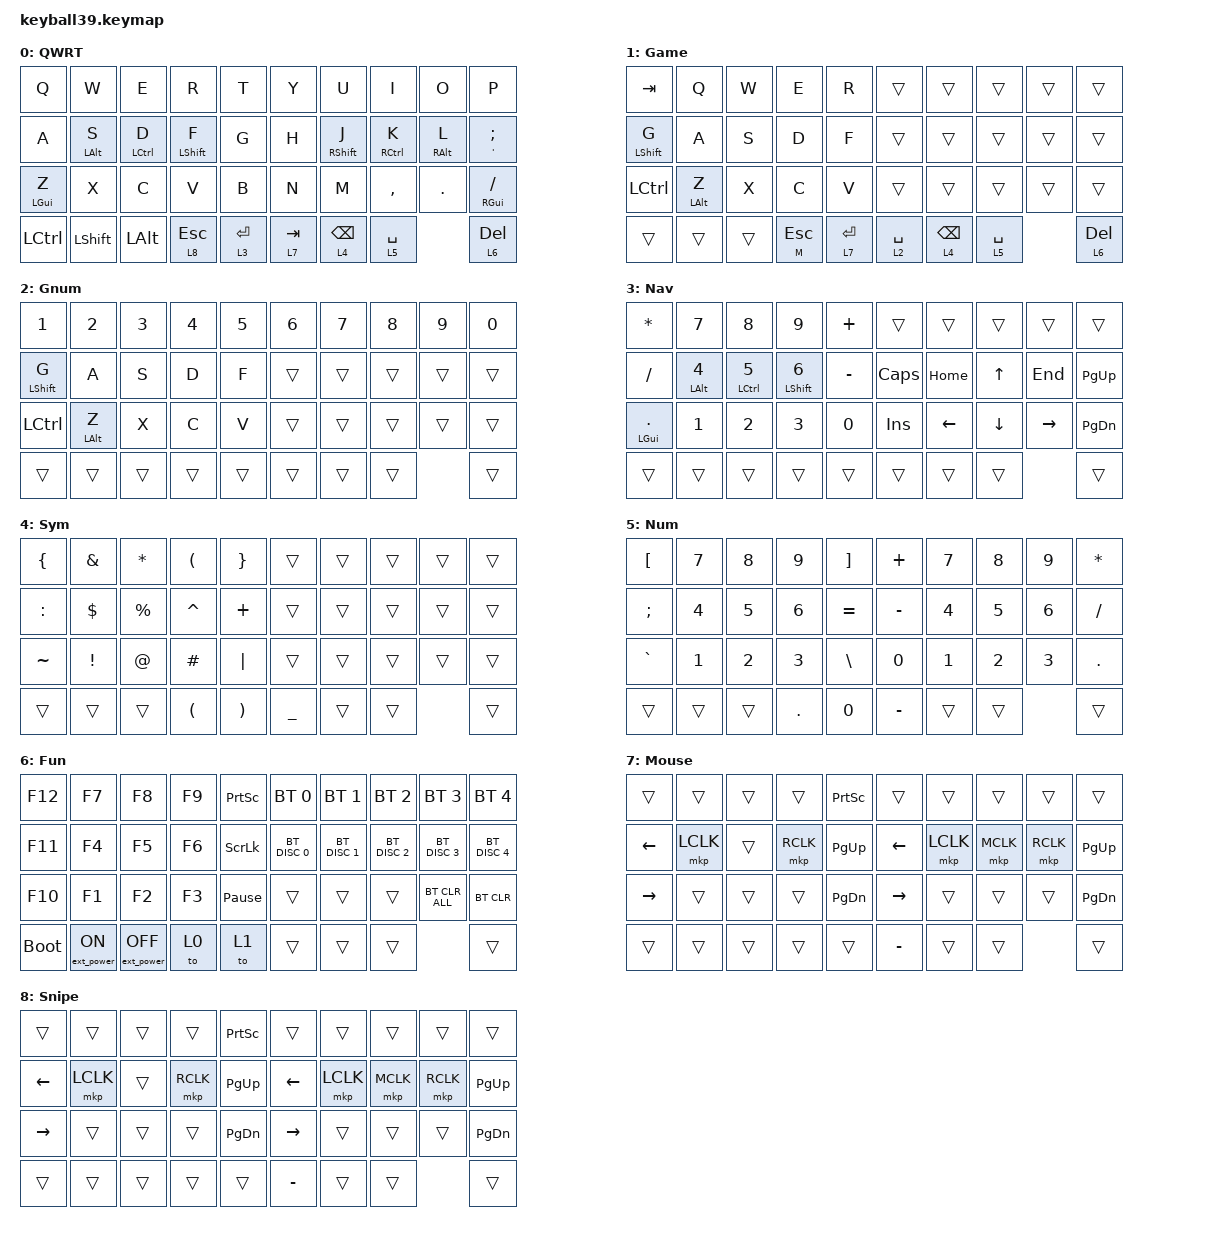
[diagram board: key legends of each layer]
#define DEF 0
#define GAM 1
#define GAN 2
#define NAV 3
#define SYM 4
#define NUM 5
#define FUN 6
#define MOU 7
#define SNI 8


#include <behaviors/mouse_keys.dtsi>
#include <dt-bindings/zmk/behaviors.h>
#include <dt-bindings/zmk/mouse.h>
#include <behaviors.dtsi>
#include <dt-bindings/zmk/bt.h>
#include <dt-bindings/zmk/keys.h>
#include <zmk-helpers/helper.h> 
#include <dt-bindings/zmk/input_transform.h>
#include <dt-bindings/zmk/ext_power.h>



// Combos

#undef COMBO_HOOK
#define COMBO_HOOK
#define COMBO_TERM_FAST 10
#define COMBO_TERM_SLOW 50



// CAPS WORD
// -----------------------------------------------------------------------------------------
// tap      |   Q   |   W   |   E   |   R   |   T   |   |   Y   |   U   |   I   |   O   |   P   |
//          _____________________________________________________________________________________
// tap      |   A   |   S   |   D   |XXXFXXX|   G   |   |   H   |XXXJXXX|   K   |   L   |   ;   |
//          _____________________________________________________________________________________
// tap      |   Z   |   X   |   C   |   V   |   B   |   |   N   |   M   |   ,   |   .   |   /   |
//
// tap                      |  ESC  |  ENT  |  TAB  |   | BSPC  |  SPC  |  DEL  |
ZMK_COMBO(caps, &caps_word, 13 16, DEF, COMBO_TERM_SLOW)

&caps_word {
    continue-list = <UNDERSCORE MINUS>;
};

// REFRESH (F5)
// -----------------------------------------------------------------------------------------
// tap      |XXXQXXX|XXXWXXX|   E   |   R   |   T   |   |   Y   |   U   |   I   |   O   |   P   |
//          _____________________________________________________________________________________
// tap      |   A   |   S   |   D   |   F   |   G   |   |   H   |   J   |   K   |   L   |   ;   |
//          _____________________________________________________________________________________
// tap      |   Z   |   X   |   C   |   V   |   B   |   |   N   |   M   |   ,   |   .   |   /   |
//
// tap                      |  ESC  |  ENT  |  TAB  |   | BSPC  |  SPC  |  DEL  |
ZMK_COMBO(refr, &kp F5, 0 1, DEF, COMBO_TERM_FAST) 

// PASTE
// -----------------------------------------------------------------------------------------
// tap      |   Q   |   W   |   E   |   R   |   T   |   |   Y   |   U   |   I   |   O   |   P   |
//          _____________________________________________________________________________________
// tap      |   A   |   S   |   D   |   F   |   G   |   |   H   |   J   |   K   |   L   |   ;   |
//          _____________________________________________________________________________________
// tap      |   Z   |   X   |   C   |XXXVXXX|XXXBXXX|   |   N   |   M   |   ,   |   .   |   /   |
//
// tap                      |  ESC  |  ENT  |  TAB  |   | BSPC  |  SPC  |  DEL  |
ZMK_COMBO(paste, &kp LC(V), 23 24, DEF, COMBO_TERM_SLOW)

// COPY
// -----------------------------------------------------------------------------------------
// tap      |   Q   |   W   |   E   |   R   |   T   |   |   Y   |   U   |   I   |   O   |   P   |
//          _____________________________________________________________________________________
// tap      |   A   |   S   |   D   |   F   |   G   |   |   H   |   J   |   K   |   L   |   ;   |
//          _____________________________________________________________________________________
// tap      |   Z   |   X   |XXXCXXX|XXXVXXX|   B   |   |   N   |   M   |   ,   |   .   |   /   |
//
// tap                      |  ESC  |  ENT  |  TAB  |   | BSPC  |  SPC  |  DEL  |
ZMK_COMBO(copy, &kp LC(C), 22 23, DEF, COMBO_TERM_SLOW)

// CUT
// -----------------------------------------------------------------------------------------
// tap      |   Q   |   W   |   E   |   R   |   T   |   |   Y   |   U   |   I   |   O   |   P   |
//          _____________________________________________________________________________________
// tap      |   A   |   S   |   D   |   F   |   G   |   |   H   |   J   |   K   |   L   |   ;   |
//          _____________________________________________________________________________________
// tap      |   Z   |XXXXXXX|XXXCXXX|   V   |   B   |   |   N   |   M   |   ,   |   .   |   /   |
//
// tap                      |  ESC  |  ENT  |  TAB  |   | BSPC  |  SPC  |  DEL  |
ZMK_COMBO(cut, &kp LC(X), 21 22, DEF, COMBO_TERM_SLOW)

// UNDO
// -----------------------------------------------------------------------------------------
// tap      |   Q   |XXXWXXX|XXXEXXX|   R   |   T   |   |   Y   |   U   |   I   |   O   |   P   |
//          _____________________________________________________________________________________
// tap      |   A   |   S   |   D   |   F   |   G   |   |   H   |   J   |   K   |   L   |   ;   |
//          _____________________________________________________________________________________
// tap      |   Z   |   X   |   C   |   V   |   B   |   |   N   |   M   |   ,   |   .   |   /   |
//
// tap                      |  ESC  |  ENT  |  TAB  |   | BSPC  |  SPC  |  DEL  |
ZMK_COMBO(undo, &kp LC(Z), 1 2, DEF, COMBO_TERM_SLOW)

// REDO
// -----------------------------------------------------------------------------------------
// tap      |   Q   |   W   |XXXEXXX|XXXRXXX|   T   |   |   Y   |   U   |   I   |   O   |   P   |
//          _____________________________________________________________________________________
// tap      |   A   |   S   |   D   |   F   |   G   |   |   H   |   J   |   K   |   L   |   ;   |
//          _____________________________________________________________________________________
// tap      |   Z   |   X   |   C   |   V   |   B   |   |   N   |   M   |   ,   |   .   |   /   |
//
// tap                      |  ESC  |  ENT  |  TAB  |   | BSPC  |  SPC  |  DEL  |
ZMK_COMBO(redo, &kp LC(Y), 2 3, DEF, COMBO_TERM_SLOW)

// APOSTROPHE
// -----------------------------------------------------------------------------------------
// tap      |   Q   |   W   |   E   |   R   |   T   |   |   Y   |   U   |   I   |   O   |   P   |
//          ___________________________________________________________________
// tap      |   A   |   S   |   D   |   F   |   G   |   |   H   |   J   |   K   |XXXLXXX|XXX;XXX|
//          ___________________________________________________________________
// tap      |   Z   |   X   |   C   |   V   |   B   |   |   N   |   M   |   ,   |   .   |   /   |
//
// tap                      |  ESC  |  ENT  |  TAB  |   | BSPC  |  SPC  |  DEL  |
ZMK_COMBO(apos, &kp APOS, 18 19, DEF, COMBO_TERM_SLOW)


&mt{
        flavor = "balanced";
        tapping-term-ms = <250>;
        quick-tap-ms = <175>;
        require-prior-idle-ms = <150>;
};

&lt{
        quick-tap-ms = <250>;
};

/* Trackball configuration using the new input-listener method */
&pinctrl {
    /* If you have specific pinctrl needs, they go here */
};


/ {

/* This is where you set your specific timings and thresholds */
    #if IS_ENABLED(CONFIG_ZMK_MOUSE)
        /* Only build the listener if we are on the side with the trackball */
        trackball_listener {
            compatible = "zmk,input-listener";
            device = <&vtrackball>; 
            execute-on-tick = <20>;
            layers = <0>;
            timeout-ms = <1000>; 
            precision = <15>; 
        };
    #endif

    keymap {
        compatible = "zmk,keymap";

        default_layer {
            label = "QWRT";
            bindings = <
&kp Q           &kp W           &kp E           &kp R             &kp T            &kp Y              &kp U              &kp I             &kp O            &kp P
&kp A           &mt LEFT_ALT S  &mt LCTRL D     &mt LEFT_SHIFT F  &kp G            &kp H              &mt RSHIFT J       &mt RCTRL K       &mt RIGHT_ALT L  &mt SQT SEMI
&mt LEFT_GUI Z  &kp X           &kp C           &kp V             &kp B            &kp N              &kp M              &kp COMMA         &kp DOT          &mt RIGHT_GUI FSLH
&kp LCTRL       &kp LEFT_SHIFT  &kp LALT        &lt 8 ESC         &lt 3 RET        &lt 7 TAB          &lt 4 BACKSPACE    &lt 5 SPACE                        &lt 6 DEL

            >;
        };

        gam_layer {
            label = "Game";
            bindings = <
&kp TAB       &kp Q           &kp W          &kp E          &kp R            &trans             &trans             &trans         &trans   &trans 
&mt LSHIFT G  &kp A           &kp S          &kp D          &kp F            &trans             &trans             &trans         &trans   &trans
&kp LCTRL     &mt LEFT_ALT Z  &kp X          &kp C          &kp V            &trans             &trans             &trans         &trans   &trans
&trans        &trans          &trans         &mt M ESC      &lt 7 RET        &lt 2 SPACE        &lt 4 BACKSPACE    &lt 5 SPACE             &lt 6 DEL
            >;
        };

        gan_layer {
            label = "Gnum";
            bindings = <
&kp N1        &kp N2          &kp N3         &kp N4         &kp N5           &kp N6             &kp N7             &kp N8         &kp N9   &kp N0
&mt LSHIFT G  &kp A           &kp S          &kp D          &kp F            &trans             &trans             &trans         &trans   &trans
&kp LCTRL     &mt LEFT_ALT Z  &kp X          &kp C          &kp V            &trans             &trans             &trans         &trans   &trans
&trans        &trans          &trans         &trans         &trans           &trans             &trans             &trans                  &trans
            >;
        };


        nav_layer {
            label = "Nav";
            bindings = <
&kp STAR             &kp N7                 &kp N8         &kp N9             &kp PLUS        &trans        &trans     &trans        &trans       &trans 
&kp SLASH            &mt LEFT_ALT N4        &mt LCTRL N5   &mt LEFT_SHIFT N6  &kp MINUS       &kp CAPSLOCK  &kp HOME   &kp UP        &kp END      &kp PAGE_UP
&mt LEFT_GUI DOT     &kp N1                 &kp N2         &kp N3             &kp N0          &kp INSERT    &kp LEFT   &kp DOWN      &kp RIGHT    &kp PAGE_DOWN
&trans               &trans                 &trans         &trans             &trans          &trans        &trans     &trans                     &trans
            >;
        };

        sym_layer {
            label = "Sym";
            bindings = <
&kp LEFT_BRACE       &kp AMPS     &kp STAR      &kp LEFT_PARENTHESIS   &kp RIGHT_BRACE        &trans       &trans  &trans  &trans  &trans 
&kp COLON            &kp DLLR     &kp PERCENT   &kp CARET              &kp PLUS               &trans       &trans  &trans  &trans  &trans 
&kp TILDE            &kp EXCL     &kp AT        &kp HASH               &kp PIPE               &trans       &trans  &trans  &trans  &trans 
&trans               &trans       &trans        &kp LEFT_PARENTHESIS   &kp RIGHT_PARENTHESIS  &kp UNDER    &trans  &trans          &trans
            >;
        };


        num_layer {
            label = "Num";
            bindings = <
&kp LEFT_BRACKET  &kp N7       &kp N8      &kp N9      &kp RIGHT_BRACKET    &kp PLUS   &kp N7  &kp N8  &kp N9  &kp STAR 
&kp SEMICOLON     &kp N4       &kp N5      &kp N6      &kp EQUAL            &kp MINUS  &kp N4  &kp N5  &kp N6  &kp SLASH 
&kp GRAVE         &kp N1       &kp N2      &kp N3      &kp BACKSLASH        &kp N0     &kp N1  &kp N2  &kp N3  &kp DOT    
&trans            &trans       &trans      &kp DOT     &kp N0               &kp MINUS  &trans  &trans          &trans
            >;
        };

        fun_layer {
            label = "Fun";
            bindings = <
&kp F12       &kp F7              &kp F8               &kp F9      &kp PSCRN          &bt BT_SEL 0   &bt BT_SEL 1   &bt BT_SEL 2   &bt BT_SEL 3    &bt BT_SEL 4
&kp F11       &kp F4              &kp F5               &kp F6      &kp SLCK           &bt BT_DISC 0  &bt BT_DISC 1  &bt BT_DISC 2  &bt BT_DISC 3   &bt BT_DISC 4
&kp F10       &kp F1              &kp F2               &kp F3      &kp PAUSE_BREAK    &trans         &trans         &trans         &bt BT_CLR_ALL  &bt BT_CLR
&bootloader   &ext_power EP_ON    &ext_power EP_OFF    &to 0       &to 1              &trans         &trans         &trans                         &trans
            >;
        };


        mou_layer {
            label = "Mouse";
            bindings = <
&trans     &trans     &trans     &trans     &kp PSCRN                 &trans     &trans     &trans     &trans     &trans     
&kp LEFT   &mkp LCLK  &trans     &mkp RCLK  &kp PAGE_UP               &kp LEFT   &mkp LCLK  &mkp MCLK  &mkp RCLK  &kp PAGE_UP   
&kp RIGHT  &trans     &trans     &trans     &kp PAGE_DOWN             &kp RIGHT  &trans     &trans     &trans     &kp PAGE_DOWN   
&trans     &trans     &trans     &trans     &trans                    &kp MINUS  &trans     &trans                &trans
            >;
        };

        sni_layer {
            label = "Snipe";
            bindings = <
&trans     &trans     &trans     &trans     &kp PSCRN                 &trans     &trans     &trans     &trans     &trans          
&kp LEFT   &mkp LCLK  &trans     &mkp RCLK  &kp PAGE_UP               &kp LEFT   &mkp LCLK  &mkp MCLK  &mkp RCLK  &kp PAGE_UP   
&kp RIGHT  &trans     &trans     &trans     &kp PAGE_DOWN             &kp RIGHT  &trans     &trans     &trans     &kp PAGE_DOWN   
&trans     &trans     &trans     &trans     &trans                    &kp MINUS  &trans     &trans                &trans
            >;
        };


    };
};
